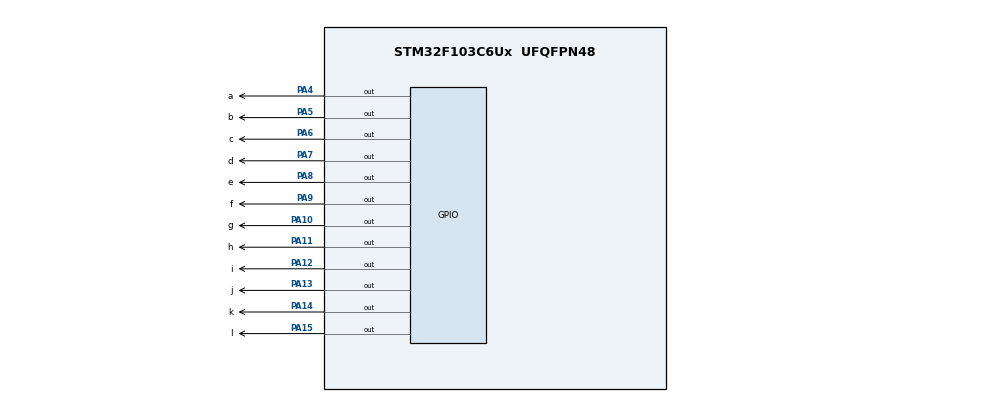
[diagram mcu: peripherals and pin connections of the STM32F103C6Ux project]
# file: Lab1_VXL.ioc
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Mcu.Family=STM32F1
Mcu.Name=STM32F103C6Ux
Mcu.Package=UFQFPN48
NVIC.PriorityGroup=NVIC_PRIORITYGROUP_4
PA10.GPIO_Label=g
PA10.Signal=GPIO_Output
PA11.GPIO_Label=h
PA11.Signal=GPIO_Output
PA12.GPIO_Label=i
PA12.Signal=GPIO_Output
PA13.GPIO_Label=j
PA13.Signal=GPIO_Output
PA14.GPIO_Label=k
PA14.Signal=GPIO_Output
PA15.GPIO_Label=l
PA15.Signal=GPIO_Output
PA4.GPIO_Label=a
PA4.Signal=GPIO_Output
PA5.GPIO_Label=b
PA5.Signal=GPIO_Output
PA6.GPIO_Label=c
PA6.Signal=GPIO_Output
PA7.GPIO_Label=d
PA7.Signal=GPIO_Output
PA8.GPIO_Label=e
PA8.Signal=GPIO_Output
PA9.GPIO_Label=f
PA9.Signal=GPIO_Output
ProjectManager.HeapSize=0x200
ProjectManager.StackSize=0x400
ProjectManager.TargetToolchain=STM32CubeIDE
RCC.APB1Freq_Value=8000000
RCC.APB2Freq_Value=8000000
board=custom

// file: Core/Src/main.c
/* USER CODE BEGIN Header */
/**
  ******************************************************************************
  * @file           : main.c
  * @brief          : Main program body
  ******************************************************************************
  * @attention
  *
  * Copyright (c) 2023 STMicroelectronics.
  * All rights reserved.
  *
  * This software is licensed under terms that can be found in the LICENSE file
  * in the root directory of this software component.
  * If no LICENSE file comes with this software, it is provided AS-IS.
  *
  ******************************************************************************
  */
/* USER CODE END Header */
#include "main.h"

void SystemClock_Config(void);
static void MX_GPIO_Init(void);

/* USER CODE BEGIN 0 */
void display7SEG(int num)
{
	switch(num)
	{
		case 0:
		{
			  HAL_GPIO_WritePin(GPIOA, a_Pin, RESET);  //0
			  HAL_GPIO_WritePin(GPIOA, b_Pin, RESET);
			  HAL_GPIO_WritePin(GPIOA, c_Pin, RESET);
			  HAL_GPIO_WritePin(GPIOA, d_Pin, RESET);
			  HAL_GPIO_WritePin(GPIOA, e_Pin, RESET);
			  HAL_GPIO_WritePin(GPIOA, f_Pin, RESET);
			  HAL_GPIO_WritePin(GPIOA, g_Pin, SET);
			  break;
		}

		case 1:
		{
			  HAL_GPIO_WritePin(GPIOA, a_Pin, SET);	//1
			  HAL_GPIO_WritePin(GPIOA, b_Pin, RESET);
			  HAL_GPIO_WritePin(GPIOA, c_Pin, RESET);
			  HAL_GPIO_WritePin(GPIOA, d_Pin, SET);
			  HAL_GPIO_WritePin(GPIOA, e_Pin, SET);
			  HAL_GPIO_WritePin(GPIOA, f_Pin, SET);
			  HAL_GPIO_WritePin(GPIOA, g_Pin, SET);
			  break;
		}
		case 2:
		{
			  HAL_GPIO_WritePin(GPIOA, a_Pin, RESET);	//2
			  HAL_GPIO_WritePin(GPIOA, b_Pin, RESET);
			  HAL_GPIO_WritePin(GPIOA, c_Pin, SET);
			  HAL_GPIO_WritePin(GPIOA, d_Pin, RESET);
			  HAL_GPIO_WritePin(GPIOA, e_Pin, RESET);
			  HAL_GPIO_WritePin(GPIOA, f_Pin, SET);
			  HAL_GPIO_WritePin(GPIOA, g_Pin, RESET);
			  break;
		}
		case 3:
		{
			  HAL_GPIO_WritePin(GPIOA, a_Pin, RESET);	//3
			  HAL_GPIO_WritePin(GPIOA, b_Pin, RESET);
			  HAL_GPIO_WritePin(GPIOA, c_Pin, RESET);
			  HAL_GPIO_WritePin(GPIOA, d_Pin, RESET);
			  HAL_GPIO_WritePin(GPIOA, e_Pin, SET);
			  HAL_GPIO_WritePin(GPIOA, f_Pin, SET);
			  HAL_GPIO_WritePin(GPIOA, g_Pin, RESET);
			  break;
		}
		case 4:
		{
			  HAL_GPIO_WritePin(GPIOA, a_Pin, SET);	//4
			  HAL_GPIO_WritePin(GPIOA, b_Pin, RESET);
			  HAL_GPIO_WritePin(GPIOA, c_Pin, RESET);
			  HAL_GPIO_WritePin(GPIOA, d_Pin, SET);
			  HAL_GPIO_WritePin(GPIOA, e_Pin, SET);
			  HAL_GPIO_WritePin(GPIOA, f_Pin, RESET);
			  HAL_GPIO_WritePin(GPIOA, g_Pin, RESET);
			  break;
		}
		case 5:
		{
			  HAL_GPIO_WritePin(GPIOA, a_Pin, RESET);	//5
			  HAL_GPIO_WritePin(GPIOA, b_Pin, SET);
			  HAL_GPIO_WritePin(GPIOA, c_Pin, RESET);
			  HAL_GPIO_WritePin(GPIOA, d_Pin, RESET);
			  HAL_GPIO_WritePin(GPIOA, e_Pin, SET);
			  HAL_GPIO_WritePin(GPIOA, f_Pin, RESET);
			  HAL_GPIO_WritePin(GPIOA, g_Pin, RESET);
			  break;
		}
		case 6:
		{
			  HAL_GPIO_WritePin(GPIOA, a_Pin, RESET);	//6
			  HAL_GPIO_WritePin(GPIOA, b_Pin, SET);
			  HAL_GPIO_WritePin(GPIOA, c_Pin, RESET);
			  HAL_GPIO_WritePin(GPIOA, d_Pin, RESET);
			  HAL_GPIO_WritePin(GPIOA, e_Pin, RESET);
			  HAL_GPIO_WritePin(GPIOA, f_Pin, RESET);
			  HAL_GPIO_WritePin(GPIOA, g_Pin, RESET);
			  break;
		}
		case 7:
		{
			  HAL_GPIO_WritePin(GPIOA, a_Pin, RESET);	//7
			  HAL_GPIO_WritePin(GPIOA, b_Pin, RESET);
			  HAL_GPIO_WritePin(GPIOA, c_Pin, RESET);
			  HAL_GPIO_WritePin(GPIOA, d_Pin, SET);
			  HAL_GPIO_WritePin(GPIOA, e_Pin, SET);
			  HAL_GPIO_WritePin(GPIOA, f_Pin, SET);
			  HAL_GPIO_WritePin(GPIOA, g_Pin, SET);
			  break;
		}
		case 8:
		{
			  HAL_GPIO_WritePin(GPIOA, a_Pin, RESET);	//8
			  HAL_GPIO_WritePin(GPIOA, b_Pin, RESET);
			  HAL_GPIO_WritePin(GPIOA, c_Pin, RESET);
			  HAL_GPIO_WritePin(GPIOA, d_Pin, RESET);
			  HAL_GPIO_WritePin(GPIOA, e_Pin, RESET);
			  HAL_GPIO_WritePin(GPIOA, f_Pin, RESET);
			  HAL_GPIO_WritePin(GPIOA, g_Pin, RESET);
			  break;
		}
		case 9:
		{
			  HAL_GPIO_WritePin(GPIOA, a_Pin, RESET);	//9
			  HAL_GPIO_WritePin(GPIOA, b_Pin, RESET);
			  HAL_GPIO_WritePin(GPIOA, c_Pin, RESET);
			  HAL_GPIO_WritePin(GPIOA, d_Pin, RESET);
			  HAL_GPIO_WritePin(GPIOA, e_Pin, SET);
			  HAL_GPIO_WritePin(GPIOA, f_Pin, RESET);
			  HAL_GPIO_WritePin(GPIOA, g_Pin, RESET);
			  break;
		}
	}
}

void analogClock(int num)
{
	switch(num)
	{
		case 1:
		{
			  HAL_GPIO_WritePin(GPIOA, a_Pin, SET);	//1
			  HAL_GPIO_WritePin(GPIOA, b_Pin, RESET);
			  HAL_GPIO_WritePin(GPIOA, c_Pin, RESET);
			  HAL_GPIO_WritePin(GPIOA, d_Pin, RESET);
			  HAL_GPIO_WritePin(GPIOA, e_Pin, RESET);
			  HAL_GPIO_WritePin(GPIOA, f_Pin, RESET);
			  HAL_GPIO_WritePin(GPIOA, g_Pin, RESET);
			  HAL_GPIO_WritePin(GPIOA, h_Pin, RESET);
			  HAL_GPIO_WritePin(GPIOA, i_Pin, RESET);
			  HAL_GPIO_WritePin(GPIOA, j_Pin, RESET);
			  HAL_GPIO_WritePin(GPIOA, k_Pin, RESET);
			  HAL_GPIO_WritePin(GPIOA, l_Pin, RESET);
			  break;
		}
		case 2:
		{
			  HAL_GPIO_WritePin(GPIOA, a_Pin, RESET);
			  HAL_GPIO_WritePin(GPIOA, b_Pin, SET);
			  HAL_GPIO_WritePin(GPIOA, c_Pin, RESET);
			  HAL_GPIO_WritePin(GPIOA, d_Pin, RESET);
			  HAL_GPIO_WritePin(GPIOA, e_Pin, RESET);
			  HAL_GPIO_WritePin(GPIOA, f_Pin, RESET);
			  HAL_GPIO_WritePin(GPIOA, g_Pin, RESET);
			  HAL_GPIO_WritePin(GPIOA, h_Pin, RESET);
			  HAL_GPIO_WritePin(GPIOA, i_Pin, RESET);
			  HAL_GPIO_WritePin(GPIOA, j_Pin, RESET);
			  HAL_GPIO_WritePin(GPIOA, k_Pin, RESET);
			  HAL_GPIO_WritePin(GPIOA, l_Pin, RESET);
			  break;
		}
		case 3:
		{
			  HAL_GPIO_WritePin(GPIOA, a_Pin, RESET);
			  HAL_GPIO_WritePin(GPIOA, b_Pin, RESET);
			  HAL_GPIO_WritePin(GPIOA, c_Pin, SET);
			  HAL_GPIO_WritePin(GPIOA, d_Pin, RESET);
			  HAL_GPIO_WritePin(GPIOA, e_Pin, RESET);
			  HAL_GPIO_WritePin(GPIOA, f_Pin, RESET);
			  HAL_GPIO_WritePin(GPIOA, g_Pin, RESET);
			  HAL_GPIO_WritePin(GPIOA, h_Pin, RESET);
			  HAL_GPIO_WritePin(GPIOA, i_Pin, RESET);
			  HAL_GPIO_WritePin(GPIOA, j_Pin, RESET);
			  HAL_GPIO_WritePin(GPIOA, k_Pin, RESET);
			  HAL_GPIO_WritePin(GPIOA, l_Pin, RESET);
			  break;
		}
		case 4:
		{
			  HAL_GPIO_WritePin(GPIOA, a_Pin, RESET);	//1
			  HAL_GPIO_WritePin(GPIOA, b_Pin, RESET);
			  HAL_GPIO_WritePin(GPIOA, c_Pin, RESET);
			  HAL_GPIO_WritePin(GPIOA, d_Pin, SET);
			  HAL_GPIO_WritePin(GPIOA, e_Pin, RESET);
			  HAL_GPIO_WritePin(GPIOA, f_Pin, RESET);
			  HAL_GPIO_WritePin(GPIOA, g_Pin, RESET);
			  HAL_GPIO_WritePin(GPIOA, h_Pin, RESET);
			  HAL_GPIO_WritePin(GPIOA, i_Pin, RESET);
			  HAL_GPIO_WritePin(GPIOA, j_Pin, RESET);
			  HAL_GPIO_WritePin(GPIOA, k_Pin, RESET);
			  HAL_GPIO_WritePin(GPIOA, l_Pin, RESET);
			  break;
		}
		case 5:
		{
			  HAL_GPIO_WritePin(GPIOA, a_Pin, RESET);	//1
			  HAL_GPIO_WritePin(GPIOA, b_Pin, RESET);
			  HAL_GPIO_WritePin(GPIOA, c_Pin, RESET);
			  HAL_GPIO_WritePin(GPIOA, d_Pin, RESET);
			  HAL_GPIO_WritePin(GPIOA, e_Pin, SET);
			  HAL_GPIO_WritePin(GPIOA, f_Pin, RESET);
			  HAL_GPIO_WritePin(GPIOA, g_Pin, RESET);
			  HAL_GPIO_WritePin(GPIOA, h_Pin, RESET);
			  HAL_GPIO_WritePin(GPIOA, i_Pin, RESET);
			  HAL_GPIO_WritePin(GPIOA, j_Pin, RESET);
			  HAL_GPIO_WritePin(GPIOA, k_Pin, RESET);
			  HAL_GPIO_WritePin(GPIOA, l_Pin, RESET);
			  break;
		}
		case 6:
		{
			  HAL_GPIO_WritePin(GPIOA, a_Pin, RESET);	//1
			  HAL_GPIO_WritePin(GPIOA, b_Pin, RESET);
			  HAL_GPIO_WritePin(GPIOA, c_Pin, RESET);
			  HAL_GPIO_WritePin(GPIOA, d_Pin, RESET);
			  HAL_GPIO_WritePin(GPIOA, e_Pin, RESET);
			  HAL_GPIO_WritePin(GPIOA, f_Pin, SET);
			  HAL_GPIO_WritePin(GPIOA, g_Pin, RESET);
			  HAL_GPIO_WritePin(GPIOA, h_Pin, RESET);
			  HAL_GPIO_WritePin(GPIOA, i_Pin, RESET);
			  HAL_GPIO_WritePin(GPIOA, j_Pin, RESET);
			  HAL_GPIO_WritePin(GPIOA, k_Pin, RESET);
			  HAL_GPIO_WritePin(GPIOA, l_Pin, RESET);
			  break;
		}
		case 7:
		{
			  HAL_GPIO_WritePin(GPIOA, a_Pin, RESET);	//1
			  HAL_GPIO_WritePin(GPIOA, b_Pin, RESET);
			  HAL_GPIO_WritePin(GPIOA, c_Pin, RESET);
			  HAL_GPIO_WritePin(GPIOA, d_Pin, RESET);
			  HAL_GPIO_WritePin(GPIOA, e_Pin, RESET);
			  HAL_GPIO_WritePin(GPIOA, f_Pin, RESET);
			  HAL_GPIO_WritePin(GPIOA, g_Pin, SET);
			  HAL_GPIO_WritePin(GPIOA, h_Pin, RESET);
			  HAL_GPIO_WritePin(GPIOA, i_Pin, RESET);
			  HAL_GPIO_WritePin(GPIOA, j_Pin, RESET);
			  HAL_GPIO_WritePin(GPIOA, k_Pin, RESET);
			  HAL_GPIO_WritePin(GPIOA, l_Pin, RESET);
			  break;
		}
		case 8:
		{
			  HAL_GPIO_WritePin(GPIOA, a_Pin, RESET);	//1
			  HAL_GPIO_WritePin(GPIOA, b_Pin, RESET);
			  HAL_GPIO_WritePin(GPIOA, c_Pin, RESET);
			  HAL_GPIO_WritePin(GPIOA, d_Pin, RESET);
			  HAL_GPIO_WritePin(GPIOA, e_Pin, RESET);
			  HAL_GPIO_WritePin(GPIOA, f_Pin, RESET);
			  HAL_GPIO_WritePin(GPIOA, g_Pin, RESET);
			  HAL_GPIO_WritePin(GPIOA, h_Pin, SET);
			  HAL_GPIO_WritePin(GPIOA, i_Pin, RESET);
			  HAL_GPIO_WritePin(GPIOA, j_Pin, RESET);
			  HAL_GPIO_WritePin(GPIOA, k_Pin, RESET);
			  HAL_GPIO_WritePin(GPIOA, l_Pin, RESET);
			  break;
		}
		case 9:
		{
			  HAL_GPIO_WritePin(GPIOA, a_Pin, RESET);	//1
			  HAL_GPIO_WritePin(GPIOA, b_Pin, RESET);
			  HAL_GPIO_WritePin(GPIOA, c_Pin, RESET);
			  HAL_GPIO_WritePin(GPIOA, d_Pin, RESET);
			  HAL_GPIO_WritePin(GPIOA, e_Pin, RESET);
			  HAL_GPIO_WritePin(GPIOA, f_Pin, RESET);
			  HAL_GPIO_WritePin(GPIOA, g_Pin, RESET);
			  HAL_GPIO_WritePin(GPIOA, h_Pin, RESET);
			  HAL_GPIO_WritePin(GPIOA, i_Pin, SET);
			  HAL_GPIO_WritePin(GPIOA, j_Pin, RESET);
			  HAL_GPIO_WritePin(GPIOA, k_Pin, RESET);
			  HAL_GPIO_WritePin(GPIOA, l_Pin, RESET);
			  break;
		}
		case 10:
		{
			  HAL_GPIO_WritePin(GPIOA, a_Pin, RESET);	//1
			  HAL_GPIO_WritePin(GPIOA, b_Pin, RESET);
			  HAL_GPIO_WritePin(GPIOA, c_Pin, RESET);
			  HAL_GPIO_WritePin(GPIOA, d_Pin, RESET);
			  HAL_GPIO_WritePin(GPIOA, e_Pin, RESET);
			  HAL_GPIO_WritePin(GPIOA, f_Pin, RESET);
			  HAL_GPIO_WritePin(GPIOA, g_Pin, RESET);
			  HAL_GPIO_WritePin(GPIOA, h_Pin, RESET);
			  HAL_GPIO_WritePin(GPIOA, i_Pin, RESET);
			  HAL_GPIO_WritePin(GPIOA, j_Pin, SET);
			  HAL_GPIO_WritePin(GPIOA, k_Pin, RESET);
			  HAL_GPIO_WritePin(GPIOA, l_Pin, RESET);
			  break;
		}
		case 11:
		{
			  HAL_GPIO_WritePin(GPIOA, a_Pin, RESET);	//1
			  HAL_GPIO_WritePin(GPIOA, b_Pin, RESET);
			  HAL_GPIO_WritePin(GPIOA, c_Pin, RESET);
			  HAL_GPIO_WritePin(GPIOA, d_Pin, RESET);
			  HAL_GPIO_WritePin(GPIOA, e_Pin, RESET);
			  HAL_GPIO_WritePin(GPIOA, f_Pin, RESET);
			  HAL_GPIO_WritePin(GPIOA, g_Pin, RESET);
			  HAL_GPIO_WritePin(GPIOA, h_Pin, RESET);
			  HAL_GPIO_WritePin(GPIOA, i_Pin, RESET);
			  HAL_GPIO_WritePin(GPIOA, j_Pin, RESET);
			  HAL_GPIO_WritePin(GPIOA, k_Pin, SET);
			  HAL_GPIO_WritePin(GPIOA, l_Pin, RESET);
			  break;
		}
		case 12:
		{
			  HAL_GPIO_WritePin(GPIOA, a_Pin, RESET);	//1
			  HAL_GPIO_WritePin(GPIOA, b_Pin, RESET);
			  HAL_GPIO_WritePin(GPIOA, c_Pin, RESET);
			  HAL_GPIO_WritePin(GPIOA, d_Pin, RESET);
			  HAL_GPIO_WritePin(GPIOA, e_Pin, RESET);
			  HAL_GPIO_WritePin(GPIOA, f_Pin, RESET);
			  HAL_GPIO_WritePin(GPIOA, g_Pin, RESET);
			  HAL_GPIO_WritePin(GPIOA, h_Pin, RESET);
			  HAL_GPIO_WritePin(GPIOA, i_Pin, RESET);
			  HAL_GPIO_WritePin(GPIOA, j_Pin, RESET);
			  HAL_GPIO_WritePin(GPIOA, k_Pin, RESET);
			  HAL_GPIO_WritePin(GPIOA, l_Pin, SET);
			  break;
		}
	}
}
/* USER CODE END 0 */

int main(void)
{

  /* MCU Configuration--------------------------------------------------------*/

  /* Reset of all peripherals, Initializes the Flash interface and the Systick. */
  HAL_Init();

  /* Configure the system clock */
  SystemClock_Config();

  /* Initialize all configured peripherals */
  MX_GPIO_Init();

  /* Infinite loop */
  /* USER CODE BEGIN WHILE */
  int count = 0;
  while(1)
  {
	  if (count > 12) count = 0;
	  analogClock(count++);
	  HAL_Delay(1000);

    /* USER CODE END WHILE */

  }
}

void SystemClock_Config(void)
{
  RCC_OscInitTypeDef RCC_OscInitStruct = {0};
  RCC_ClkInitTypeDef RCC_ClkInitStruct = {0};

  /** Initializes the RCC Oscillators according to the specified parameters
  * in the RCC_OscInitTypeDef structure.
  */
  RCC_OscInitStruct.OscillatorType = RCC_OSCILLATORTYPE_HSI;
  RCC_OscInitStruct.HSIState = RCC_HSI_ON;
  RCC_OscInitStruct.HSICalibrationValue = RCC_HSICALIBRATION_DEFAULT;
  RCC_OscInitStruct.PLL.PLLState = RCC_PLL_NONE;
  if (HAL_RCC_OscConfig(&RCC_OscInitStruct) != HAL_OK)
  {
    Error_Handler();
  }

  /** Initializes the CPU, AHB and APB buses clocks
  */
  RCC_ClkInitStruct.ClockType = RCC_CLOCKTYPE_HCLK|RCC_CLOCKTYPE_SYSCLK
                              |RCC_CLOCKTYPE_PCLK1|RCC_CLOCKTYPE_PCLK2;
  RCC_ClkInitStruct.SYSCLKSource = RCC_SYSCLKSOURCE_HSI;
  RCC_ClkInitStruct.AHBCLKDivider = RCC_SYSCLK_DIV1;
  RCC_ClkInitStruct.APB1CLKDivider = RCC_HCLK_DIV1;
  RCC_ClkInitStruct.APB2CLKDivider = RCC_HCLK_DIV1;

  if (HAL_RCC_ClockConfig(&RCC_ClkInitStruct, FLASH_LATENCY_0) != HAL_OK)
  {
    Error_Handler();
  }
}

static void MX_GPIO_Init(void)
{
  GPIO_InitTypeDef GPIO_InitStruct = {0};

  /* GPIO Ports Clock Enable */
  __HAL_RCC_GPIOA_CLK_ENABLE();

  /*Configure GPIO pin Output Level */
  HAL_GPIO_WritePin(GPIOA, a_Pin|b_Pin|c_Pin|d_Pin
                          |e_Pin|f_Pin|g_Pin|h_Pin
                          |i_Pin|j_Pin|k_Pin|l_Pin, GPIO_PIN_RESET);

  /*Configure GPIO pins : a_Pin b_Pin c_Pin d_Pin
                           e_Pin f_Pin g_Pin h_Pin
                           i_Pin j_Pin k_Pin l_Pin */
  GPIO_InitStruct.Pin = a_Pin|b_Pin|c_Pin|d_Pin
                          |e_Pin|f_Pin|g_Pin|h_Pin
                          |i_Pin|j_Pin|k_Pin|l_Pin;
  GPIO_InitStruct.Mode = GPIO_MODE_OUTPUT_PP;
  GPIO_InitStruct.Pull = GPIO_NOPULL;
  GPIO_InitStruct.Speed = GPIO_SPEED_FREQ_LOW;
  HAL_GPIO_Init(GPIOA, &GPIO_InitStruct);

}

void Error_Handler(void)
{
  __disable_irq();
  while (1)
  {
  }
}
